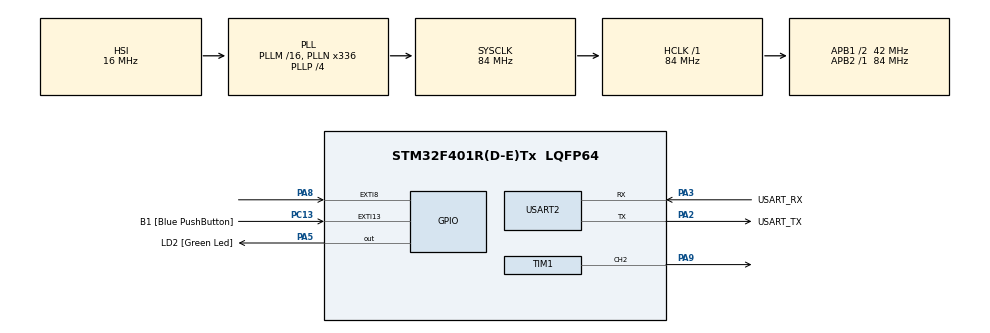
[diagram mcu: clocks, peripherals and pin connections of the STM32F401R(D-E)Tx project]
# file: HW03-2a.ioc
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Mcu.Family=STM32F4
Mcu.Name=STM32F401R(D-E)Tx
Mcu.Package=LQFP64
NVIC.EXTI9_5_IRQn=true\:0\:0\:false\:false\:true\:true\:true\:true
NVIC.PriorityGroup=NVIC_PRIORITYGROUP_4
NVIC.TIM2_IRQn=true\:0\:0\:false\:false\:true\:true\:true\:true
PA13.GPIO_Label=TMS
PA13.Mode=Trace_Asynchronous_SW
PA13.Signal=SYS_JTMS-SWDIO
PA14.GPIO_Label=TCK
PA14.Mode=Trace_Asynchronous_SW
PA14.Signal=SYS_JTCK-SWCLK
PA2.GPIO_Label=USART_TX
PA2.GPIO_Mode=GPIO_MODE_AF_PP
PA2.GPIO_PuPd=GPIO_NOPULL
PA2.GPIO_Speed=GPIO_SPEED_FREQ_LOW
PA2.Mode=Asynchronous
PA2.Signal=USART2_TX
PA3.GPIO_Label=USART_RX
PA3.GPIO_Mode=GPIO_MODE_AF_PP
PA3.GPIO_PuPd=GPIO_NOPULL
PA3.GPIO_Speed=GPIO_SPEED_FREQ_LOW
PA3.Mode=Asynchronous
PA3.Signal=USART2_RX
PA5.GPIO_Label=LD2 [Green Led]
PA5.GPIO_Mode=GPIO_MODE_OUTPUT_PP
PA5.GPIO_PuPd=GPIO_NOPULL
PA5.GPIO_Speed=GPIO_SPEED_FREQ_LOW
PA5.Signal=GPIO_Output
PA8.GPIO_PuPd=GPIO_PULLDOWN
PA8.Signal=GPXTI8
PA9.Signal=S_TIM1_CH2
PB3.GPIO_Label=SWO
PB3.Mode=Trace_Asynchronous_SW
PB3.Signal=SYS_JTDO-SWO
PC13-ANTI_TAMP.GPIO_Label=B1 [Blue PushButton]
PC13-ANTI_TAMP.GPIO_ModeDefaultEXTI=GPIO_MODE_IT_FALLING
PC13-ANTI_TAMP.GPIO_PuPd=GPIO_NOPULL
PC13-ANTI_TAMP.Signal=GPXTI13
PC14-OSC32_IN.Mode=LSE-External-Oscillator
PC14-OSC32_IN.Signal=RCC_OSC32_IN
PC15-OSC32_OUT.Mode=LSE-External-Oscillator
PC15-OSC32_OUT.Signal=RCC_OSC32_OUT
PH0\ -\ OSC_IN.Mode=HSE-External-Clock-Source
PH0\ -\ OSC_IN.Signal=RCC_OSC_IN
PH1\ -\ OSC_OUT.Mode=HSE-External-Clock-Source
PH1\ -\ OSC_OUT.Signal=RCC_OSC_OUT
ProjectManager.HeapSize=0x200
ProjectManager.StackSize=0x400
ProjectManager.TargetToolchain=STM32CubeIDE
RCC.48MHZClocksFreq_Value=48000000
RCC.AHBFreq_Value=84000000
RCC.APB1CLKDivider=RCC_HCLK_DIV2
RCC.APB1Freq_Value=42000000
RCC.APB1TimFreq_Value=84000000
RCC.APB2Freq_Value=84000000
RCC.APB2TimFreq_Value=84000000
RCC.CortexFreq_Value=84000000
RCC.HCLKFreq_Value=84000000
RCC.HSE_VALUE=8000000
RCC.HSI_VALUE=16000000
RCC.PLLN=336
RCC.PLLP=RCC_PLLP_DIV4
RCC.PLLQ=7
RCC.SYSCLKFreq_VALUE=84000000
RCC.SYSCLKSource=RCC_SYSCLKSOURCE_PLLCLK
RCC.VCOOutputFreq_Value=336000000
SH.S_TIM1_CH2.0=TIM1_CH2,PWM Generation2 CH2
TIM1.Channel-PWM\ Generation2\ CH2=TIM_CHANNEL_2
TIM1.Period=0
TIM1.Prescaler=99
TIM2.Period=1999
TIM2.Prescaler=8399
USART2.VirtualMode=VM_ASYNC
VP_TIM2_VS_ClockSourceINT.Mode=Internal
board=NUCLEO-F401RE

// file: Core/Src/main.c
/* USER CODE BEGIN Header */
/**
  ******************************************************************************
  * @file           : main.c
  * @brief          : Main program body
  ******************************************************************************
  * @attention
  *
  * Copyright (c) 2026 STMicroelectronics.
  * All rights reserved.
  *
  * This software is licensed under terms that can be found in the LICENSE file
  * in the root directory of this software component.
  * If no LICENSE file comes with this software, it is provided AS-IS.
  *
  ******************************************************************************
  */
/* USER CODE END Header */
#include "main.h"

/* USER CODE BEGIN PTD */

typedef struct {
  uint16_t frequency; // Note frequency in Hz
  uint16_t duration;  // Note duration in milliseconds
} Note;

/* USER CODE END PTD */

/* USER CODE BEGIN PD */

// The base period of TIM2 milliseconds
#define TIMER_TICK_MS 200

/* USER CODE END PD */

TIM_HandleTypeDef htim1;
TIM_HandleTypeDef htim2;

UART_HandleTypeDef huart2;

/* USER CODE BEGIN PV */

Note londonBridge[] = {
  // "Lon - don bridge is"
  {392, 600}, // G4 (Dotted Quarter)
  {440, 200}, // A4 (Eighth)
  {392, 400}, // G4 (Quarter)
  {349, 400}, // F4 (Quarter)

  // "fal - ling down"
  {330, 400}, // E4 (Quarter)
  {349, 400}, // F4 (Quarter)
  {392, 800}, // G4 (Half)

  // "fal - ling down"
  {294, 400}, // D4 (Quarter)
  {330, 400}, // E4 (Quarter)
  {349, 800}, // F4 (Half)

  // "fal - ling down"
  {330, 400}, // E4 (Quarter)
  {349, 400}, // F4 (Quarter)
  {392, 800}, // G4 (Half)

  // "Lon - don bridge is"
  {392, 600}, // G4 (Dotted Quarter)
  {440, 200}, // A4 (Eighth)
  {392, 400}, // G4 (Quarter)
  {349, 400}, // F4 (Quarter)

  // "fal - ling down"
  {330, 400}, // E4 (Quarter)
  {349, 400}, // F4 (Quarter)
  {392, 800}, // G4 (Half)

  // "my fair"
  {294, 800}, // D4 (Half)
  {392, 800}, // G4 (Half)

  // "la - dy"
  {330, 400},  // E4 (Quarter)
  {262, 1200}, // C4 (Dotted Half)
};

// Calculate how many notes are in the array
int songLength = sizeof(londonBridge) / sizeof(londonBridge[0]);

volatile uint8_t playSongFlag = 0;
volatile uint8_t isPlaying = 0;

volatile int currentNoteIndex = 0;
volatile int ticksRemaining = 0;

/* USER CODE END PV */

void SystemClock_Config(void);
static void MX_GPIO_Init(void);
static void MX_USART2_UART_Init(void);
static void MX_TIM1_Init(void);
static void MX_TIM2_Init(void);

/* USER CODE BEGIN 0 */

void playNote(uint16_t freq) {
  if (freq == 0) {

    // Mute the volume by setting Pulse (Duty Cycle) to 0
    __HAL_TIM_SET_COMPARE(&htim1, TIM_CHANNEL_2, 0);

  } else {

	// Calculate Period (ARR) based on the 840000 Hz timer frequency
	uint32_t arr = (840000 / freq) - 1;

	// Calculate Pulse (CCRx) for exactly 50% duty cycle
	uint32_t pulse = (arr + 1) / 2 - 1;

	// Write values to the timer registers dynamically
	__HAL_TIM_SET_AUTORELOAD(&htim1, arr);
	__HAL_TIM_SET_COMPARE(&htim1, TIM_CHANNEL_2, pulse);
  }
}

/* USER CODE END 0 */

int main(void)
{

  /* MCU Configuration--------------------------------------------------------*/

  /* Reset of all peripherals, Initializes the Flash interface and the Systick. */
  HAL_Init();

  /* Configure the system clock */
  SystemClock_Config();

  /* Initialize all configured peripherals */
  MX_GPIO_Init();
  MX_USART2_UART_Init();
  MX_TIM1_Init();
  MX_TIM2_Init();

  /* Infinite loop */
  /* USER CODE BEGIN WHILE */
  while (1)
  {
	  // Check if the microphone triggered the interrupt flag
	  if (playSongFlag == 1) {

	    isPlaying = 1;
	    playSongFlag = 0;

	    // Initialize the note index and ticks duration
	    currentNoteIndex = 0;
	    ticksRemaining = londonBridge[0].duration / TIMER_TICK_MS;

	    // Start the song playback
	    HAL_TIM_PWM_Start(&htim1, TIM_CHANNEL_2);
	    playNote(londonBridge[0].frequency);
	    HAL_TIM_Base_Start_IT(&htim2);
	  }

    /* USER CODE END WHILE */

  }
}

void SystemClock_Config(void)
{
  RCC_OscInitTypeDef RCC_OscInitStruct = {0};
  RCC_ClkInitTypeDef RCC_ClkInitStruct = {0};

  /** Configure the main internal regulator output voltage
  */
  __HAL_RCC_PWR_CLK_ENABLE();
  __HAL_PWR_VOLTAGESCALING_CONFIG(PWR_REGULATOR_VOLTAGE_SCALE2);

  /** Initializes the RCC Oscillators according to the specified parameters
  * in the RCC_OscInitTypeDef structure.
  */
  RCC_OscInitStruct.OscillatorType = RCC_OSCILLATORTYPE_HSI;
  RCC_OscInitStruct.HSIState = RCC_HSI_ON;
  RCC_OscInitStruct.HSICalibrationValue = RCC_HSICALIBRATION_DEFAULT;
  RCC_OscInitStruct.PLL.PLLState = RCC_PLL_ON;
  RCC_OscInitStruct.PLL.PLLSource = RCC_PLLSOURCE_HSI;
  RCC_OscInitStruct.PLL.PLLM = 16;
  RCC_OscInitStruct.PLL.PLLN = 336;
  RCC_OscInitStruct.PLL.PLLP = RCC_PLLP_DIV4;
  RCC_OscInitStruct.PLL.PLLQ = 7;
  if (HAL_RCC_OscConfig(&RCC_OscInitStruct) != HAL_OK)
  {
    Error_Handler();
  }

  /** Initializes the CPU, AHB and APB buses clocks
  */
  RCC_ClkInitStruct.ClockType = RCC_CLOCKTYPE_HCLK|RCC_CLOCKTYPE_SYSCLK
                              |RCC_CLOCKTYPE_PCLK1|RCC_CLOCKTYPE_PCLK2;
  RCC_ClkInitStruct.SYSCLKSource = RCC_SYSCLKSOURCE_PLLCLK;
  RCC_ClkInitStruct.AHBCLKDivider = RCC_SYSCLK_DIV1;
  RCC_ClkInitStruct.APB1CLKDivider = RCC_HCLK_DIV2;
  RCC_ClkInitStruct.APB2CLKDivider = RCC_HCLK_DIV1;

  if (HAL_RCC_ClockConfig(&RCC_ClkInitStruct, FLASH_LATENCY_2) != HAL_OK)
  {
    Error_Handler();
  }
}

static void MX_TIM1_Init(void)
{

  TIM_MasterConfigTypeDef sMasterConfig = {0};
  TIM_OC_InitTypeDef sConfigOC = {0};
  TIM_BreakDeadTimeConfigTypeDef sBreakDeadTimeConfig = {0};

  htim1.Instance = TIM1;
  htim1.Init.Prescaler = 99;
  htim1.Init.CounterMode = TIM_COUNTERMODE_UP;
  htim1.Init.Period = 0;
  htim1.Init.ClockDivision = TIM_CLOCKDIVISION_DIV1;
  htim1.Init.RepetitionCounter = 0;
  htim1.Init.AutoReloadPreload = TIM_AUTORELOAD_PRELOAD_DISABLE;
  if (HAL_TIM_PWM_Init(&htim1) != HAL_OK)
  {
    Error_Handler();
  }
  sMasterConfig.MasterOutputTrigger = TIM_TRGO_RESET;
  sMasterConfig.MasterSlaveMode = TIM_MASTERSLAVEMODE_DISABLE;
  if (HAL_TIMEx_MasterConfigSynchronization(&htim1, &sMasterConfig) != HAL_OK)
  {
    Error_Handler();
  }
  sConfigOC.OCMode = TIM_OCMODE_PWM1;
  sConfigOC.Pulse = 0;
  sConfigOC.OCPolarity = TIM_OCPOLARITY_HIGH;
  sConfigOC.OCNPolarity = TIM_OCNPOLARITY_HIGH;
  sConfigOC.OCFastMode = TIM_OCFAST_DISABLE;
  sConfigOC.OCIdleState = TIM_OCIDLESTATE_RESET;
  sConfigOC.OCNIdleState = TIM_OCNIDLESTATE_RESET;
  if (HAL_TIM_PWM_ConfigChannel(&htim1, &sConfigOC, TIM_CHANNEL_2) != HAL_OK)
  {
    Error_Handler();
  }
  sBreakDeadTimeConfig.OffStateRunMode = TIM_OSSR_DISABLE;
  sBreakDeadTimeConfig.OffStateIDLEMode = TIM_OSSI_DISABLE;
  sBreakDeadTimeConfig.LockLevel = TIM_LOCKLEVEL_OFF;
  sBreakDeadTimeConfig.DeadTime = 0;
  sBreakDeadTimeConfig.BreakState = TIM_BREAK_DISABLE;
  sBreakDeadTimeConfig.BreakPolarity = TIM_BREAKPOLARITY_HIGH;
  sBreakDeadTimeConfig.AutomaticOutput = TIM_AUTOMATICOUTPUT_DISABLE;
  if (HAL_TIMEx_ConfigBreakDeadTime(&htim1, &sBreakDeadTimeConfig) != HAL_OK)
  {
    Error_Handler();
  }
  HAL_TIM_MspPostInit(&htim1);

}

static void MX_TIM2_Init(void)
{

  TIM_ClockConfigTypeDef sClockSourceConfig = {0};
  TIM_MasterConfigTypeDef sMasterConfig = {0};

  htim2.Instance = TIM2;
  htim2.Init.Prescaler = 8399;
  htim2.Init.CounterMode = TIM_COUNTERMODE_UP;
  htim2.Init.Period = 1999;
  htim2.Init.ClockDivision = TIM_CLOCKDIVISION_DIV1;
  htim2.Init.AutoReloadPreload = TIM_AUTORELOAD_PRELOAD_DISABLE;
  if (HAL_TIM_Base_Init(&htim2) != HAL_OK)
  {
    Error_Handler();
  }
  sClockSourceConfig.ClockSource = TIM_CLOCKSOURCE_INTERNAL;
  if (HAL_TIM_ConfigClockSource(&htim2, &sClockSourceConfig) != HAL_OK)
  {
    Error_Handler();
  }
  sMasterConfig.MasterOutputTrigger = TIM_TRGO_RESET;
  sMasterConfig.MasterSlaveMode = TIM_MASTERSLAVEMODE_DISABLE;
  if (HAL_TIMEx_MasterConfigSynchronization(&htim2, &sMasterConfig) != HAL_OK)
  {
    Error_Handler();
  }

}

static void MX_USART2_UART_Init(void)
{

  huart2.Instance = USART2;
  huart2.Init.BaudRate = 115200;
  huart2.Init.WordLength = UART_WORDLENGTH_8B;
  huart2.Init.StopBits = UART_STOPBITS_1;
  huart2.Init.Parity = UART_PARITY_NONE;
  huart2.Init.Mode = UART_MODE_TX_RX;
  huart2.Init.HwFlowCtl = UART_HWCONTROL_NONE;
  huart2.Init.OverSampling = UART_OVERSAMPLING_16;
  if (HAL_UART_Init(&huart2) != HAL_OK)
  {
    Error_Handler();
  }

}

static void MX_GPIO_Init(void)
{
  GPIO_InitTypeDef GPIO_InitStruct = {0};

  /* GPIO Ports Clock Enable */
  __HAL_RCC_GPIOC_CLK_ENABLE();
  __HAL_RCC_GPIOH_CLK_ENABLE();
  __HAL_RCC_GPIOA_CLK_ENABLE();
  __HAL_RCC_GPIOB_CLK_ENABLE();

  /*Configure GPIO pin Output Level */
  HAL_GPIO_WritePin(LD2_GPIO_Port, LD2_Pin, GPIO_PIN_RESET);

  /*Configure GPIO pin : B1_Pin */
  GPIO_InitStruct.Pin = B1_Pin;
  GPIO_InitStruct.Mode = GPIO_MODE_IT_FALLING;
  GPIO_InitStruct.Pull = GPIO_NOPULL;
  HAL_GPIO_Init(B1_GPIO_Port, &GPIO_InitStruct);

  /*Configure GPIO pin : LD2_Pin */
  GPIO_InitStruct.Pin = LD2_Pin;
  GPIO_InitStruct.Mode = GPIO_MODE_OUTPUT_PP;
  GPIO_InitStruct.Pull = GPIO_NOPULL;
  GPIO_InitStruct.Speed = GPIO_SPEED_FREQ_LOW;
  HAL_GPIO_Init(LD2_GPIO_Port, &GPIO_InitStruct);

  /*Configure GPIO pin : PA8 */
  GPIO_InitStruct.Pin = GPIO_PIN_8;
  GPIO_InitStruct.Mode = GPIO_MODE_IT_RISING;
  GPIO_InitStruct.Pull = GPIO_PULLDOWN;
  HAL_GPIO_Init(GPIOA, &GPIO_InitStruct);

  /* EXTI interrupt init*/
  HAL_NVIC_SetPriority(EXTI9_5_IRQn, 0, 0);
  HAL_NVIC_EnableIRQ(EXTI9_5_IRQn);

}

/* USER CODE BEGIN 4 */

// This function is automatically called when an External Interrupt (EXTI) triggers
void HAL_GPIO_EXTI_Callback(uint16_t GPIO_Pin)
{
    // Check if the interrupt came from the microphone pin (PA8)
    if(GPIO_Pin == GPIO_PIN_8) {

        // Only set the flag if the song isn't already playing
        // This prevents the song from glitching if it hears its own noise.
        if (isPlaying == 0) {
            playSongFlag = 1;
        }
    }
}

// This function is automatically called when a Timer Period elapses
void HAL_TIM_PeriodElapsedCallback(TIM_HandleTypeDef *htim)
{
    if (htim->Instance == TIM2) {

        // Subtract 1 tick (200ms) from the current note's duration
        ticksRemaining--;

        // Check if the note has finished to play
        if (ticksRemaining <= 0) {

            // Move to the next note in the array
            currentNoteIndex++;

            // Check if we are still playing the song
            if (currentNoteIndex < songLength) {

                // Play the new note and compute its tick duration
                playNote(londonBridge[currentNoteIndex].frequency);
                ticksRemaining = londonBridge[currentNoteIndex].duration / TIMER_TICK_MS;

            } else {

            	// Stop the speaker and the timer interrupt
            	HAL_TIM_PWM_Stop(&htim1, TIM_CHANNEL_2);
                HAL_TIM_Base_Stop_IT(&htim2);

                isPlaying = 0;
            }
        }
    }
}

/* USER CODE END 4 */

void Error_Handler(void)
{
  __disable_irq();
  while (1)
  {
  }
}
